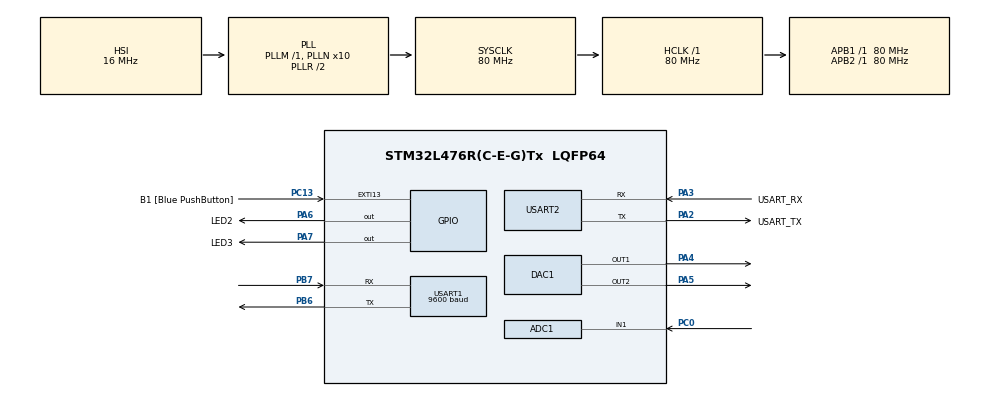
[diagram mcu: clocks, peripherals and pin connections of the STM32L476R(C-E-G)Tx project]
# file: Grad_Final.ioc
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ADC1.Channel-0\#ChannelRegularConversion=ADC_CHANNEL_1
ADC1.ClockPrescaler=ADC_CLOCK_ASYNC_DIV256
ADC1.ContinuousConvMode=ENABLE
ADC1.DMAContinuousRequests=ENABLE
ADC1.NbrOfConversion=1
ADC1.NbrOfConversionFlag=1
ADC1.OffsetNumber-0\#ChannelRegularConversion=ADC_OFFSET_NONE
ADC1.Overrun=ADC_OVR_DATA_OVERWRITTEN
ADC1.Rank-0\#ChannelRegularConversion=1
ADC1.SamplingTime-0\#ChannelRegularConversion=ADC_SAMPLETIME_12CYCLES_5
ADC1.master=1
DAC1.DAC_Channel-DAC_OUT2=DAC_CHANNEL_2
DAC1.DAC_Trigger-DAC_OUT1=DAC_TRIGGER_T2_TRGO
DAC1.DAC_Trigger-DAC_OUT2=DAC_TRIGGER_T4_TRGO
DAC1.WaveGeneration-DAC_OUT1=NoiseWaveGeneration
DAC1.WaveGeneration-DAC_OUT2=NoiseWaveGeneration
Dma.ADC1.2.Direction=DMA_PERIPH_TO_MEMORY
Dma.ADC1.2.Instance=DMA2_Channel3
Dma.ADC1.2.MemDataAlignment=DMA_MDATAALIGN_HALFWORD
Dma.ADC1.2.MemInc=DMA_MINC_ENABLE
Dma.ADC1.2.Mode=DMA_NORMAL
Dma.ADC1.2.PeriphDataAlignment=DMA_PDATAALIGN_HALFWORD
Dma.ADC1.2.PeriphInc=DMA_PINC_DISABLE
Dma.ADC1.2.Priority=DMA_PRIORITY_MEDIUM
Dma.DAC_CH1.0.Direction=DMA_MEMORY_TO_PERIPH
Dma.DAC_CH1.0.Instance=DMA1_Channel3
Dma.DAC_CH1.0.MemDataAlignment=DMA_MDATAALIGN_HALFWORD
Dma.DAC_CH1.0.MemInc=DMA_MINC_ENABLE
Dma.DAC_CH1.0.Mode=DMA_CIRCULAR
Dma.DAC_CH1.0.PeriphDataAlignment=DMA_PDATAALIGN_HALFWORD
Dma.DAC_CH1.0.PeriphInc=DMA_PINC_DISABLE
Dma.DAC_CH1.0.Priority=DMA_PRIORITY_HIGH
Dma.DAC_CH2.1.Direction=DMA_MEMORY_TO_PERIPH
Dma.DAC_CH2.1.Instance=DMA2_Channel5
Dma.DAC_CH2.1.MemDataAlignment=DMA_MDATAALIGN_HALFWORD
Dma.DAC_CH2.1.MemInc=DMA_MINC_ENABLE
Dma.DAC_CH2.1.Mode=DMA_CIRCULAR
Dma.DAC_CH2.1.PeriphDataAlignment=DMA_PDATAALIGN_HALFWORD
Dma.DAC_CH2.1.PeriphInc=DMA_PINC_DISABLE
Dma.DAC_CH2.1.Priority=DMA_PRIORITY_HIGH
Dma.Request0=DAC_CH1
Dma.Request1=DAC_CH2
Dma.Request2=ADC1
FREERTOS.BinarySemaphores01=UARTSem01,Dynamic,NULL
FREERTOS.Queues01=genQueue01,15,struct COMMANDS_STRUCT,0,Dynamic,NULL,NULL
FREERTOS.Tasks01=defaultTask,24,128,StartDefaultTask,Default,NULL,Dynamic,NULL,NULL;receiveTask,41,900,Start_receiveTask,Default,NULL,Dynamic,NULL,NULL;commandTask,40,1000,Start_commandTask,Default,NULL,Dynamic,NULL,NULL;captureTask,40,300,StartCaptureTask,Default,NULL,Dynamic,NULL,NULL
FREERTOS.configTOTAL_HEAP_SIZE=12000
Mcu.Family=STM32L4
Mcu.Name=STM32L476R(C-E-G)Tx
Mcu.Package=LQFP64
NVIC.ADC1_2_IRQn=true\:5\:0\:false\:false\:true\:true\:true\:true\:true
NVIC.DMA1_Channel3_IRQn=true\:5\:0\:false\:false\:true\:true\:false\:true\:true
NVIC.DMA2_Channel3_IRQn=true\:5\:0\:false\:false\:true\:true\:false\:true\:true
NVIC.DMA2_Channel5_IRQn=true\:5\:0\:false\:false\:true\:true\:false\:true\:true
NVIC.PriorityGroup=NVIC_PRIORITYGROUP_4
NVIC.TIM6_DAC_IRQn=true\:5\:0\:false\:false\:true\:false\:false\:true\:true
NVIC.TimeBase=TIM6_DAC_IRQn
NVIC.TimeBaseIP=TIM6
NVIC.USART1_IRQn=true\:5\:0\:false\:false\:true\:true\:true\:true\:true
NVIC.USART2_IRQn=true\:5\:0\:false\:false\:true\:true\:true\:true\:true
PA13\ (JTMS-SWDIO).GPIO_Label=TMS
PA13\ (JTMS-SWDIO).Mode=Serial_Wire
PA13\ (JTMS-SWDIO).Signal=SYS_JTMS-SWDIO
PA14\ (JTCK-SWCLK).GPIO_Label=TCK
PA14\ (JTCK-SWCLK).Mode=Serial_Wire
PA14\ (JTCK-SWCLK).Signal=SYS_JTCK-SWCLK
PA2.GPIO_Label=USART_TX
PA2.GPIO_Mode=GPIO_MODE_AF_PP
PA2.GPIO_PuPd=GPIO_NOPULL
PA2.GPIO_Speed=GPIO_SPEED_FREQ_VERY_HIGH
PA2.Mode=Asynchronous
PA2.Signal=USART2_TX
PA3.GPIO_Label=USART_RX
PA3.GPIO_Mode=GPIO_MODE_AF_PP
PA3.GPIO_PuPd=GPIO_NOPULL
PA3.GPIO_Speed=GPIO_SPEED_FREQ_VERY_HIGH
PA3.Mode=Asynchronous
PA3.Signal=USART2_RX
PA4.Signal=COMP_DAC11_group
PA5.Signal=COMP_DAC12_group
PA6.GPIO_Label=LED2
PA6.PinState=GPIO_PIN_SET
PA6.Signal=GPIO_Output
PA7.GPIO_Label=LED3
PA7.PinState=GPIO_PIN_SET
PA7.Signal=GPIO_Output
PB3\ (JTDO-TRACESWO).GPIO_Label=SWO
PB3\ (JTDO-TRACESWO).Signal=SYS_JTDO-SWO
PB6.Mode=Asynchronous
PB6.Signal=USART1_TX
PB7.Mode=Asynchronous
PB7.Signal=USART1_RX
PC0.Signal=ADCx_IN1
PC13.GPIO_Label=B1 [Blue PushButton]
PC13.GPIO_ModeDefaultEXTI=GPIO_MODE_IT_FALLING
PC13.GPIO_PuPd=GPIO_NOPULL
PC13.Signal=GPXTI13
PC14-OSC32_IN\ (PC14).Mode=LSE-External-Oscillator
PC14-OSC32_IN\ (PC14).Signal=RCC_OSC32_IN
PC15-OSC32_OUT\ (PC15).Mode=LSE-External-Oscillator
PC15-OSC32_OUT\ (PC15).Signal=RCC_OSC32_OUT
PH0-OSC_IN\ (PH0).Signal=RCC_OSC_IN
PH1-OSC_OUT\ (PH1).Signal=RCC_OSC_OUT
ProjectManager.HeapSize=0x200
ProjectManager.StackSize=0x400
ProjectManager.TargetToolchain=STM32CubeIDE
RCC.ADCFreq_Value=64000000
RCC.AHBFreq_Value=80000000
RCC.APB1Freq_Value=80000000
RCC.APB1TimFreq_Value=80000000
RCC.APB2Freq_Value=80000000
RCC.APB2TimFreq_Value=80000000
RCC.CortexFreq_Value=80000000
RCC.HCLKFreq_Value=80000000
RCC.HSE_VALUE=8000000
RCC.HSI_VALUE=16000000
RCC.MSI_VALUE=4000000
RCC.PLLN=10
RCC.PLLSourceVirtual=RCC_PLLSOURCE_HSI
RCC.PREFETCH_ENABLE=1
RCC.SYSCLKFreq_VALUE=80000000
RCC.SYSCLKSource=RCC_SYSCLKSOURCE_PLLCLK
RCC.USBFreq_Value=64000000
RCC.VCOOutputFreq_Value=160000000
SH.ADCx_IN1.0=ADC1_IN1,IN1-Single-Ended
SH.COMP_DAC11_group.0=DAC1_OUT1,DAC_OUT1
SH.COMP_DAC12_group.0=DAC1_OUT2,DAC_OUT2
TIM2.Period=101-1
TIM2.Prescaler=8-1
TIM2.TIM_MasterOutputTrigger=TIM_TRGO_UPDATE
TIM4.Period=100-1
TIM4.Prescaler=8-1
TIM4.TIM_MasterOutputTrigger=TIM_TRGO_UPDATE
USART1.BaudRate=9600
USART1.VirtualMode-Asynchronous=VM_ASYNC
USART2.VirtualMode-Asynchronous=VM_ASYNC
VP_FREERTOS_VS_CMSIS_V2.Mode=CMSIS_V2
VP_SYS_VS_tim6.Mode=TIM6
VP_TIM2_VS_ClockSourceINT.Mode=Internal
VP_TIM4_VS_ClockSourceINT.Mode=Internal
board=NUCLEO-L476RG

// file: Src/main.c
/* USER CODE BEGIN Header */
/**
  ******************************************************************************
  * @file           : main.c
  * @brief          : Main program body
  ******************************************************************************
  * @attention
  *
  * Copyright (c) 2023 STMicroelectronics.
  * All rights reserved.
  *
  * This software is licensed under terms that can be found in the LICENSE file
  * in the root directory of this software component.
  * If no LICENSE file comes with this software, it is provided AS-IS.
  *
  ******************************************************************************
  */
/* USER CODE END Header */
#include "main.h"
#include "cmsis_os.h"

/* USER CODE BEGIN Includes */
#include <stdio.h>
#include <inttypes.h>
#include <stdbool.h>
#include "info.h"
#include <stdlib.h>
#include <string.h>
#include <ctype.h>
/* USER CODE END Includes */

/* USER CODE BEGIN PD */
#define MAX(a,b) \
	({ __typeof__ (a) _a = (a); \
	   __typeof__ (b) _b = (b); \
	 _a > _b ? _a : _b; })

#define MIN(a,b) \
	({ __typeof__ (a) _a = (a); \
	   __typeof__ (b) _b = (b); \
	 _a < _b ? _a : _b; })

#define DATA_SIZE (200)
#define PI (3.1415926)
#define WSz (256)
#define WSzf (256.000)
/* USER CODE END PD */

ADC_HandleTypeDef hadc1;
DMA_HandleTypeDef hdma_adc1;

DAC_HandleTypeDef hdac1;
DMA_HandleTypeDef hdma_dac_ch1;
DMA_HandleTypeDef hdma_dac_ch2;

TIM_HandleTypeDef htim2;
TIM_HandleTypeDef htim4;

UART_HandleTypeDef huart1;
UART_HandleTypeDef huart2;

/* Definitions for defaultTask */
osThreadId_t defaultTaskHandle;
const osThreadAttr_t defaultTask_attributes = {
  .name = "defaultTask",
  .stack_size = 128 * 4,
  .priority = (osPriority_t) osPriorityNormal,
};
/* Definitions for receiveTask */
osThreadId_t receiveTaskHandle;
const osThreadAttr_t receiveTask_attributes = {
  .name = "receiveTask",
  .stack_size = 900 * 4,
  .priority = (osPriority_t) osPriorityHigh1,
};
/* Definitions for commandTask */
osThreadId_t commandTaskHandle;
const osThreadAttr_t commandTask_attributes = {
  .name = "commandTask",
  .stack_size = 1000 * 4,
  .priority = (osPriority_t) osPriorityHigh,
};
/* Definitions for captureTask */
osThreadId_t captureTaskHandle;
const osThreadAttr_t captureTask_attributes = {
  .name = "captureTask",
  .stack_size = 300 * 4,
  .priority = (osPriority_t) osPriorityHigh,
};
/* Definitions for genQueue01 */
osMessageQueueId_t genQueue01Handle;
const osMessageQueueAttr_t genQueue01_attributes = {
  .name = "genQueue01"
};
/* Definitions for UARTSem01 */
osSemaphoreId_t UARTSem01Handle;
const osSemaphoreAttr_t UARTSem01_attributes = {
  .name = "UARTSem01"
};
/* USER CODE BEGIN PV */
uint8_t idx_1 = 0;
uint8_t rx_char_1 = 0;

uint8_t Rx_data_1[1];
uint8_t Rx_data_2[1];
uint8_t Rx_flag_1 =0;
uint8_t Rx_flag_2 =0;
uint8_t Rx_Buffer_1[DATA_SIZE]={0};
uint8_t Rx_Buffer_2[DATA_SIZE]={0};
uint8_t Ch1_flag=0;
uint8_t Ch2_flag=0;

uint8_t Capture_flag=0;
uint16_t Received_Waveform[20000]={0};
/* USER CODE END PV */

void SystemClock_Config(void);
static void MX_GPIO_Init(void);
static void MX_DMA_Init(void);
static void MX_USART2_UART_Init(void);
static void MX_DAC1_Init(void);
static void MX_TIM2_Init(void);
static void MX_TIM4_Init(void);
static void MX_ADC1_Init(void);
static void MX_USART1_UART_Init(void);
void StartDefaultTask(void *argument);
void Start_receiveTask(void *argument);
void Start_commandTask(void *argument);
void StartCaptureTask(void *argument);

/* USER CODE BEGIN 0 */
void HAL_UART_RxCpltCallback(UART_HandleTypeDef *huart) {
	if(huart == &huart1){
		HAL_UART_Receive_IT(&huart1, &rx_char_1, 1);
		Rx_Buffer_1[idx_1] = rx_char_1;
		idx_1++;
		if(rx_char_1 == '\r'){
			Rx_flag_1 = 1;
		}
	}
	else if (huart == &huart2)
		Rx_flag_2 = 1;
}

void Update_DMA(COMMAND *running_command, uint16_t wave[], uint16_t wave_ch1[], uint16_t wave_ch2[], uint16_t wave_size, uint16_t *scale) {
    if (running_command->channel == 1) {
    	HAL_TIM_Base_Stop(&htim2);
    	HAL_DAC_Stop_DMA(&hdac1, DAC1_CHANNEL_1);
    	if(running_command->freq >1000){ // high speed mode
			for(int i=0; i<25; i++){
				wave_ch1[i] = wave[i*10]; // decimate signal
			}
			*scale = (int) 10*10000000.0 / (running_command->freq*WSz)-1;
			__HAL_TIM_SET_AUTORELOAD(&htim2, *scale);
			HAL_DAC_Start_DMA(&hdac1, DAC1_CHANNEL_1, wave_ch1, 25, DAC_ALIGN_12B_R);
			HAL_TIM_Base_Start(&htim2);
			return;
		}
    	for (int i = 0; i < 256; i++) {
            wave_ch1[i] = wave[i];
        }
        __HAL_TIM_SET_AUTORELOAD(&htim2, *scale);

        HAL_DAC_Start_DMA(&hdac1, DAC1_CHANNEL_1, wave_ch1, 256, DAC_ALIGN_12B_R);
        HAL_TIM_Base_Start(&htim2);
    }
    else if (running_command->channel == 2) {
    	HAL_TIM_Base_Start(&htim4);
    	HAL_DAC_Stop_DMA(&hdac1, DAC1_CHANNEL_2);

    	for (int i = 0; i < 256; i++) {
            wave_ch2[i] = wave[i];
        }
        __HAL_TIM_SET_AUTORELOAD(&htim4, *scale);

		HAL_DAC_Start_DMA(&hdac1, DAC1_CHANNEL_2, wave_ch2, 256, DAC_ALIGN_12B_R);
        HAL_TIM_Base_Start(&htim2);
    }
    return;
}
void process_cmd(char name1[], char name2[], char cmd[], char params[]){
	COMMAND command;
	uint8_t rx_buffer[DATA_SIZE] = {0};
	char sel[4] = {0};
	uint8_t on = 0;
	int led = 0;

	if(strcmp(cmd, "msg") == 0 || strcmp(cmd, "MSG") == 0){
		strcat(params, "\r\n");
		HAL_UART_Transmit(&huart2, params, DATA_SIZE, 1000);
	}
	else if(strcmp(cmd, "led") == 0||strcmp(cmd, "LED") == 0){
		sscanf(params, "%3s %d", sel, &led);
		if(sel[1] == 'n' || sel[1] == 'N'){
			on = GPIO_PIN_RESET;
		}
		else if(sel[1] == 'f'||sel[1] == 'F'){
			on = GPIO_PIN_SET;
		}
		if(led == 2){
			HAL_GPIO_WritePin(LED2_GPIO_Port, LED2_Pin, on);
		}
		else if(led == 3){
			HAL_GPIO_WritePin(LED3_GPIO_Port, LED3_Pin, on);
		}
	}
	else if(strcmp(cmd, "cap") == 0||strcmp(cmd, "CAP") == 0){
		Capture_flag = 1; // this will be read by Cap task
	}
	else if(strcmp(cmd, "gen") == 0||strcmp(cmd, "GEN") == 0){
		if(sscanf(params, "%d %c %f %f %f %d", &command.channel, &command.type,
			  &command.freq, &command.minv, &command.maxv, &command.noise) !=6){
			snprintf(rx_buffer, DATA_SIZE, "failed because incorrect size of param \r\n", command.channel);
			HAL_UART_Transmit(&huart2, rx_buffer, DATA_SIZE, 1000);
			return;
		}
		command.type = toupper(command.type); // put type to upper
		//------------------------------------------------------------------------------------
		// verify generation
		//------------------------------------------------------------------------------------
		if(command.channel != 1 && command.channel != 2){
			snprintf(rx_buffer, DATA_SIZE, "failed because channel = %d \r\n", command.channel);
			HAL_UART_Transmit(&huart2, rx_buffer, DATA_SIZE, 1000);
			return;
		}
		if(command.type != 'R' && command.type != 'T' && command.type != 'S' && command.type != 'A'){
			snprintf(rx_buffer, DATA_SIZE, "failed because type = %c \r\n", command.type);
			HAL_UART_Transmit(&huart2, rx_buffer, DATA_SIZE, 1000);
			return;
		}
		if(command.freq > 10000 || (command.freq < 0.5 && command.freq != 0) ){
			snprintf(rx_buffer, DATA_SIZE, "failed because frequency = %f \r\n", command.freq);
			HAL_UART_Transmit(&huart2, rx_buffer, DATA_SIZE, 1000);
			return;
		}
		if(command.minv < 0 || command.minv > 3.3){
			snprintf(rx_buffer, DATA_SIZE, "failed because minv = %f \r\n", command.minv);
			HAL_UART_Transmit(&huart2, rx_buffer, DATA_SIZE, 1000);
			return;
		}
		if(command.maxv < command.maxv || command.maxv > 3.3){
			snprintf(rx_buffer, DATA_SIZE, "failed because maxv = %f \r\n", command.maxv);
			HAL_UART_Transmit(&huart2, rx_buffer, DATA_SIZE, 1000);
			return;
		}
		if(command.noise < 0 || command.maxv > 12){
			snprintf(rx_buffer, DATA_SIZE, "failed because noise = %d \r\n", command.noise);
			HAL_UART_Transmit(&huart2, rx_buffer, DATA_SIZE, 1000);
			return;
		}
		//------------------------------------------------------------------------------------
		snprintf(rx_buffer, DATA_SIZE,"\r\n gen = %d, chann = %d, type = %c, freq = %f, minv = %f, maxv = %f, noise = %d \r\n",
			  command.gen, command.channel, command.type, command.freq,
			  command.minv, command.maxv, command.noise);
		HAL_UART_Transmit(&huart2, rx_buffer, DATA_SIZE, 1000);
		osMessageQueuePut(genQueue01Handle, &command, 1U, 100);
	}
	return;
}

/* USER CODE END 0 */

int main(void)
{

  /* MCU Configuration--------------------------------------------------------*/

  /* Reset of all peripherals, Initializes the Flash interface and the Systick. */
  HAL_Init();

  /* Configure the system clock */
  SystemClock_Config();

  /* Initialize all configured peripherals */
  MX_GPIO_Init();
  MX_DMA_Init();
  MX_USART2_UART_Init();
  MX_DAC1_Init();
  MX_TIM2_Init();
  MX_TIM4_Init();
  MX_ADC1_Init();
  MX_USART1_UART_Init();
  /* USER CODE BEGIN 2 */
  HAL_TIM_Base_Start(&htim2);
  HAL_TIM_Base_Start(&htim4);
  HAL_UART_Receive_IT(&huart2, Rx_data_2, 1);
  HAL_UART_Receive_IT(&huart1, Rx_data_1, 1);
  uint8_t rx_d[50] = "start\r\n";
  HAL_UART_Transmit(&huart2, rx_d, sizeof(rx_d), HAL_MAX_DELAY);
  /* USER CODE END 2 */

  /* Init scheduler */
  osKernelInitialize();

  /* Create the semaphores(s) */
  /* creation of UARTSem01 */
  UARTSem01Handle = osSemaphoreNew(1, 1, &UARTSem01_attributes);

  /* Create the queue(s) */
  /* creation of genQueue01 */
  genQueue01Handle = osMessageQueueNew (15, sizeof(struct COMMANDS_STRUCT), &genQueue01_attributes);

  /* Create the thread(s) */
  /* creation of defaultTask */
  defaultTaskHandle = osThreadNew(StartDefaultTask, NULL, &defaultTask_attributes);

  /* creation of receiveTask */
  receiveTaskHandle = osThreadNew(Start_receiveTask, NULL, &receiveTask_attributes);

  /* creation of commandTask */
  commandTaskHandle = osThreadNew(Start_commandTask, NULL, &commandTask_attributes);

  /* creation of captureTask */
  captureTaskHandle = osThreadNew(StartCaptureTask, NULL, &captureTask_attributes);

  /* Start scheduler */
  osKernelStart();

  /* We should never get here as control is now taken by the scheduler */
  /* Infinite loop */
  while (1)
  {

  }
}

void SystemClock_Config(void)
{
  RCC_OscInitTypeDef RCC_OscInitStruct = {0};
  RCC_ClkInitTypeDef RCC_ClkInitStruct = {0};

  /** Configure the main internal regulator output voltage
  */
  if (HAL_PWREx_ControlVoltageScaling(PWR_REGULATOR_VOLTAGE_SCALE1) != HAL_OK)
  {
    Error_Handler();
  }

  /** Initializes the RCC Oscillators according to the specified parameters
  * in the RCC_OscInitTypeDef structure.
  */
  RCC_OscInitStruct.OscillatorType = RCC_OSCILLATORTYPE_HSI;
  RCC_OscInitStruct.HSIState = RCC_HSI_ON;
  RCC_OscInitStruct.HSICalibrationValue = RCC_HSICALIBRATION_DEFAULT;
  RCC_OscInitStruct.PLL.PLLState = RCC_PLL_ON;
  RCC_OscInitStruct.PLL.PLLSource = RCC_PLLSOURCE_HSI;
  RCC_OscInitStruct.PLL.PLLM = 1;
  RCC_OscInitStruct.PLL.PLLN = 10;
  RCC_OscInitStruct.PLL.PLLP = RCC_PLLP_DIV7;
  RCC_OscInitStruct.PLL.PLLQ = RCC_PLLQ_DIV2;
  RCC_OscInitStruct.PLL.PLLR = RCC_PLLR_DIV2;
  if (HAL_RCC_OscConfig(&RCC_OscInitStruct) != HAL_OK)
  {
    Error_Handler();
  }

  /** Initializes the CPU, AHB and APB buses clocks
  */
  RCC_ClkInitStruct.ClockType = RCC_CLOCKTYPE_HCLK|RCC_CLOCKTYPE_SYSCLK
                              |RCC_CLOCKTYPE_PCLK1|RCC_CLOCKTYPE_PCLK2;
  RCC_ClkInitStruct.SYSCLKSource = RCC_SYSCLKSOURCE_PLLCLK;
  RCC_ClkInitStruct.AHBCLKDivider = RCC_SYSCLK_DIV1;
  RCC_ClkInitStruct.APB1CLKDivider = RCC_HCLK_DIV1;
  RCC_ClkInitStruct.APB2CLKDivider = RCC_HCLK_DIV1;

  if (HAL_RCC_ClockConfig(&RCC_ClkInitStruct, FLASH_LATENCY_4) != HAL_OK)
  {
    Error_Handler();
  }
}

static void MX_ADC1_Init(void)
{

  ADC_MultiModeTypeDef multimode = {0};
  ADC_ChannelConfTypeDef sConfig = {0};

  /** Common config
  */
  hadc1.Instance = ADC1;
  hadc1.Init.ClockPrescaler = ADC_CLOCK_ASYNC_DIV256;
  hadc1.Init.Resolution = ADC_RESOLUTION_12B;
  hadc1.Init.DataAlign = ADC_DATAALIGN_RIGHT;
  hadc1.Init.ScanConvMode = ADC_SCAN_DISABLE;
  hadc1.Init.EOCSelection = ADC_EOC_SINGLE_CONV;
  hadc1.Init.LowPowerAutoWait = DISABLE;
  hadc1.Init.ContinuousConvMode = ENABLE;
  hadc1.Init.NbrOfConversion = 1;
  hadc1.Init.DiscontinuousConvMode = DISABLE;
  hadc1.Init.ExternalTrigConv = ADC_SOFTWARE_START;
  hadc1.Init.ExternalTrigConvEdge = ADC_EXTERNALTRIGCONVEDGE_NONE;
  hadc1.Init.DMAContinuousRequests = ENABLE;
  hadc1.Init.Overrun = ADC_OVR_DATA_OVERWRITTEN;
  hadc1.Init.OversamplingMode = DISABLE;
  if (HAL_ADC_Init(&hadc1) != HAL_OK)
  {
    Error_Handler();
  }

  /** Configure the ADC multi-mode
  */
  multimode.Mode = ADC_MODE_INDEPENDENT;
  if (HAL_ADCEx_MultiModeConfigChannel(&hadc1, &multimode) != HAL_OK)
  {
    Error_Handler();
  }

  /** Configure Regular Channel
  */
  sConfig.Channel = ADC_CHANNEL_1;
  sConfig.Rank = ADC_REGULAR_RANK_1;
  sConfig.SamplingTime = ADC_SAMPLETIME_12CYCLES_5;
  sConfig.SingleDiff = ADC_SINGLE_ENDED;
  sConfig.OffsetNumber = ADC_OFFSET_NONE;
  sConfig.Offset = 0;
  if (HAL_ADC_ConfigChannel(&hadc1, &sConfig) != HAL_OK)
  {
    Error_Handler();
  }

}

static void MX_DAC1_Init(void)
{

  DAC_ChannelConfTypeDef sConfig = {0};

  /** DAC Initialization
  */
  hdac1.Instance = DAC1;
  if (HAL_DAC_Init(&hdac1) != HAL_OK)
  {
    Error_Handler();
  }

  /** DAC channel OUT1 config
  */
  sConfig.DAC_SampleAndHold = DAC_SAMPLEANDHOLD_DISABLE;
  sConfig.DAC_Trigger = DAC_TRIGGER_T2_TRGO;
  sConfig.DAC_OutputBuffer = DAC_OUTPUTBUFFER_ENABLE;
  sConfig.DAC_ConnectOnChipPeripheral = DAC_CHIPCONNECT_DISABLE;
  sConfig.DAC_UserTrimming = DAC_TRIMMING_FACTORY;
  if (HAL_DAC_ConfigChannel(&hdac1, &sConfig, DAC_CHANNEL_1) != HAL_OK)
  {
    Error_Handler();
  }

  /** Configure Noise wave generation on DAC OUT1
  */
  if (HAL_DACEx_NoiseWaveGenerate(&hdac1, DAC_CHANNEL_1, DAC_LFSRUNMASK_BIT0) != HAL_OK)
  {
    Error_Handler();
  }

  /** DAC channel OUT2 config
  */
  sConfig.DAC_Trigger = DAC_TRIGGER_T4_TRGO;
  if (HAL_DAC_ConfigChannel(&hdac1, &sConfig, DAC_CHANNEL_2) != HAL_OK)
  {
    Error_Handler();
  }

  /** Configure Noise wave generation on DAC OUT2
  */
  if (HAL_DACEx_NoiseWaveGenerate(&hdac1, DAC_CHANNEL_2, DAC_LFSRUNMASK_BIT0) != HAL_OK)
  {
    Error_Handler();
  }

}

static void MX_TIM2_Init(void)
{

  TIM_ClockConfigTypeDef sClockSourceConfig = {0};
  TIM_MasterConfigTypeDef sMasterConfig = {0};

  htim2.Instance = TIM2;
  htim2.Init.Prescaler = 8-1;
  htim2.Init.CounterMode = TIM_COUNTERMODE_UP;
  htim2.Init.Period = 101-1;
  htim2.Init.ClockDivision = TIM_CLOCKDIVISION_DIV1;
  htim2.Init.AutoReloadPreload = TIM_AUTORELOAD_PRELOAD_DISABLE;
  if (HAL_TIM_Base_Init(&htim2) != HAL_OK)
  {
    Error_Handler();
  }
  sClockSourceConfig.ClockSource = TIM_CLOCKSOURCE_INTERNAL;
  if (HAL_TIM_ConfigClockSource(&htim2, &sClockSourceConfig) != HAL_OK)
  {
    Error_Handler();
  }
  sMasterConfig.MasterOutputTrigger = TIM_TRGO_UPDATE;
  sMasterConfig.MasterSlaveMode = TIM_MASTERSLAVEMODE_DISABLE;
  if (HAL_TIMEx_MasterConfigSynchronization(&htim2, &sMasterConfig) != HAL_OK)
  {
    Error_Handler();
  }

}

static void MX_TIM4_Init(void)
{

  TIM_ClockConfigTypeDef sClockSourceConfig = {0};
  TIM_MasterConfigTypeDef sMasterConfig = {0};

  htim4.Instance = TIM4;
  htim4.Init.Prescaler = 8-1;
  htim4.Init.CounterMode = TIM_COUNTERMODE_UP;
  htim4.Init.Period = 100-1;
  htim4.Init.ClockDivision = TIM_CLOCKDIVISION_DIV1;
  htim4.Init.AutoReloadPreload = TIM_AUTORELOAD_PRELOAD_DISABLE;
  if (HAL_TIM_Base_Init(&htim4) != HAL_OK)
  {
    Error_Handler();
  }
  sClockSourceConfig.ClockSource = TIM_CLOCKSOURCE_INTERNAL;
  if (HAL_TIM_ConfigClockSource(&htim4, &sClockSourceConfig) != HAL_OK)
  {
    Error_Handler();
  }
  sMasterConfig.MasterOutputTrigger = TIM_TRGO_UPDATE;
  sMasterConfig.MasterSlaveMode = TIM_MASTERSLAVEMODE_DISABLE;
  if (HAL_TIMEx_MasterConfigSynchronization(&htim4, &sMasterConfig) != HAL_OK)
  {
    Error_Handler();
  }

}

static void MX_USART1_UART_Init(void)
{

  huart1.Instance = USART1;
  huart1.Init.BaudRate = 9600;
  huart1.Init.WordLength = UART_WORDLENGTH_8B;
  huart1.Init.StopBits = UART_STOPBITS_1;
  huart1.Init.Parity = UART_PARITY_NONE;
  huart1.Init.Mode = UART_MODE_TX_RX;
  huart1.Init.HwFlowCtl = UART_HWCONTROL_NONE;
  huart1.Init.OverSampling = UART_OVERSAMPLING_16;
  huart1.Init.OneBitSampling = UART_ONE_BIT_SAMPLE_DISABLE;
  huart1.AdvancedInit.AdvFeatureInit = UART_ADVFEATURE_NO_INIT;
  if (HAL_UART_Init(&huart1) != HAL_OK)
  {
    Error_Handler();
  }

}

static void MX_USART2_UART_Init(void)
{

  huart2.Instance = USART2;
  huart2.Init.BaudRate = 115200;
  huart2.Init.WordLength = UART_WORDLENGTH_8B;
  huart2.Init.StopBits = UART_STOPBITS_1;
  huart2.Init.Parity = UART_PARITY_NONE;
  huart2.Init.Mode = UART_MODE_TX_RX;
  huart2.Init.HwFlowCtl = UART_HWCONTROL_NONE;
  huart2.Init.OverSampling = UART_OVERSAMPLING_16;
  huart2.Init.OneBitSampling = UART_ONE_BIT_SAMPLE_DISABLE;
  huart2.AdvancedInit.AdvFeatureInit = UART_ADVFEATURE_NO_INIT;
  if (HAL_UART_Init(&huart2) != HAL_OK)
  {
    Error_Handler();
  }

}

static void MX_DMA_Init(void)
{

  /* DMA controller clock enable */
  __HAL_RCC_DMA1_CLK_ENABLE();
  __HAL_RCC_DMA2_CLK_ENABLE();

  /* DMA interrupt init */
  /* DMA1_Channel3_IRQn interrupt configuration */
  HAL_NVIC_SetPriority(DMA1_Channel3_IRQn, 5, 0);
  HAL_NVIC_EnableIRQ(DMA1_Channel3_IRQn);
  /* DMA2_Channel3_IRQn interrupt configuration */
  HAL_NVIC_SetPriority(DMA2_Channel3_IRQn, 5, 0);
  HAL_NVIC_EnableIRQ(DMA2_Channel3_IRQn);
  /* DMA2_Channel5_IRQn interrupt configuration */
  HAL_NVIC_SetPriority(DMA2_Channel5_IRQn, 5, 0);
  HAL_NVIC_EnableIRQ(DMA2_Channel5_IRQn);

}

static void MX_GPIO_Init(void)
{
  GPIO_InitTypeDef GPIO_InitStruct = {0};

  /* GPIO Ports Clock Enable */
  __HAL_RCC_GPIOC_CLK_ENABLE();
  __HAL_RCC_GPIOH_CLK_ENABLE();
  __HAL_RCC_GPIOA_CLK_ENABLE();
  __HAL_RCC_GPIOB_CLK_ENABLE();

  /*Configure GPIO pin Output Level */
  HAL_GPIO_WritePin(GPIOA, LED2_Pin|LED3_Pin, GPIO_PIN_SET);

  /*Configure GPIO pin : B1_Pin */
  GPIO_InitStruct.Pin = B1_Pin;
  GPIO_InitStruct.Mode = GPIO_MODE_IT_FALLING;
  GPIO_InitStruct.Pull = GPIO_NOPULL;
  HAL_GPIO_Init(B1_GPIO_Port, &GPIO_InitStruct);

  /*Configure GPIO pins : LED2_Pin LED3_Pin */
  GPIO_InitStruct.Pin = LED2_Pin|LED3_Pin;
  GPIO_InitStruct.Mode = GPIO_MODE_OUTPUT_PP;
  GPIO_InitStruct.Pull = GPIO_NOPULL;
  GPIO_InitStruct.Speed = GPIO_SPEED_FREQ_LOW;
  HAL_GPIO_Init(GPIOA, &GPIO_InitStruct);

}

void StartDefaultTask(void *argument)
{
  for(;;)
  {
    osDelay(1);
  }
}

void Start_receiveTask(void *argument)
{
  /* USER CODE BEGIN Start_receiveTask */
  char myname[] = "quinn";
  char myname_1[] = "jack";
  //uint8_t idx_1 = 0;
  uint8_t idx_2 = 0;
  uint8_t clear_flag_1 = 0;
  uint8_t clear_flag_2 = 0;

  char nl[4] = "\r\n";
  char name1[32] = {0};
  char name2[32] = {0};
  char cmd[32] = {0};
  char params[DATA_SIZE] = {0};
  uint8_t buffer[DATA_SIZE] = {0};

  uint8_t rx_char = 0;
  //uint8_t rx_char_1 = 0;

  uint8_t state =0;
//COMMAND command;
	/* Infinite loop */
  for(;;)
  {
	  osDelay(1);
	  if(Rx_flag_1 == 0 && Rx_flag_2 == 0){
		  osDelay(1);
		  continue;
	  }

//-------------------------------------------------------------------------------------------------------------------------------------------------
// Read UART 1
//-------------------------------------------------------------------------------------------------------------------------------------------------

	  if(Rx_flag_1 == 1){
		  Rx_flag_1 = 0;
		  if(sscanf(Rx_Buffer_1, "<%31[^>] > <%31[^>] > <%31[^>] > <%199[^>] >", name1, name2, cmd, params) == 4) {
			  if(strcmp(myname_1, name2)!=0){
				  HAL_UART_Transmit(&huart1, Rx_Buffer_1, DATA_SIZE, 1000);
			  }
			  else{
				  process_cmd(name1, name2, cmd, params);
				  memset(name1, 0, sizeof(name1[0]) * 32);
				  memset(name2, 0, sizeof(name1[0]) * 32);
				  memset(cmd, 0, sizeof(name1[0]) * 32);
				  memset(params, 0, sizeof(name1[0]) * DATA_SIZE);
			  }
		  }
		  else{
			  memset(buffer, 0, sizeof(buffer[0]) * DATA_SIZE); // wipe Rx_command
			  strcpy(buffer,"\r\ninvalid command by size! 01\r\n");
			  HAL_UART_Transmit(&huart2, buffer, DATA_SIZE, 1000);
		  }
		  idx_1 = 0;
		  memset(buffer, 0, sizeof(buffer[0]) * DATA_SIZE); // wipe Rx_command
		  memset(Rx_Buffer_1, 0, sizeof(Rx_Buffer_1[0]) * DATA_SIZE); // wipe Rx_command
	  }
//-------------------------------------------------------------------------------------------------------------------------------------------------
// Read UART 2
//-------------------------------------------------------------------------------------------------------------------------------------------------
	  if(Rx_flag_2 == 1){
		  HAL_UART_Receive_IT(&huart2, &rx_char, 1);
		  HAL_UART_Transmit(&huart2, &rx_char, 1, 10);
		  Rx_Buffer_2[idx_2] = rx_char;
		  idx_2++;
		  Rx_flag_2 = 0;
		  if(rx_char != '\r'){
			  continue;
		  }
		  HAL_UART_Transmit(&huart2, nl, 4, 100);
		  if(sscanf(Rx_Buffer_2, "<%31[^>] > <%31[^>] > <%199[^>] >",name2, cmd, params) == 3) {
			  if(strcmp(myname, name2)!=0){
				  //add <myname>
				  memset(buffer, 0, sizeof(buffer[0]) * DATA_SIZE);
				  strcat(buffer,"<");
				  strcat(buffer, myname);
				  strcat(buffer,"> ");
				  strcat(buffer, Rx_Buffer_2);
				  HAL_UART_Transmit(&huart1, buffer, DATA_SIZE, 1000);
			  }
			  else{
				  process_cmd(name1, name2, cmd, params);
				  memset(name1, 0, sizeof(name1[0]) * 32);
				  memset(name2, 0, sizeof(name1[0]) * 32);
				  memset(cmd, 0, sizeof(name1[0]) * 32);
				  memset(params, 0, sizeof(name1[0]) * DATA_SIZE);
			  }
		  }
		  else{
			  memset(buffer, 0, sizeof(buffer[0]) * DATA_SIZE); // wipe Rx_command
			  strcpy(buffer,"\r\ninvalid command by size! 02\r\n");
			  HAL_UART_Transmit(&huart2, buffer, DATA_SIZE, 1000);
		  }
		  idx_2 = 0;
		  memset(buffer, 0, sizeof(buffer[0]) * DATA_SIZE); // wipe Rx_command
		  memset(Rx_Buffer_2, 0, sizeof(Rx_Buffer_2[0]) * DATA_SIZE); // wipe Rx_command
	  }
  }
  /* USER CODE END Start_receiveTask */
}

void Start_commandTask(void *argument)
{
  /* USER CODE BEGIN Start_commandTask */
  COMMAND running_command;
  float val =0.0;
  uint16_t wave[256] = {0};
  uint16_t wave_ch1[256]={0};
  uint16_t wave_ch2[256]={0};
  uint32_t scale =1000;
  double min =0;
  double max =0;
	/* Infinite loop */
  for(;;)
  {
	if(osMessageQueueGetCount(genQueue01Handle) != 0){
		osMessageQueueGet(genQueue01Handle, &running_command, 0, 100);
		if(running_command.freq == 0)
		{
			for(int i = 0; i < WSz; i++)
			{
					wave[i] = (uint16_t)(4095*running_command.minv/3.3);
			}

			scale = 100; // does not matter, just not -1
			Update_DMA(&running_command, wave, wave_ch1, wave_ch2, 256, &scale);
			continue;
		}

		switch(running_command.type){
		case('S'):
			for(int j=0; j<256; j++){
				val = (sin(j*2*PI/256.0)/2.0 + 0.5)*4095.0 * (running_command.maxv - running_command.minv)/3.3 + 4095.0*running_command.minv/3.3;
				wave[j] = (int) val;
			}
			scale =(int) 10000000 / (running_command.freq*WSz)-1;
		break;
		case('T'):
			for (int i=0; i<WSz; i++)
				{
					val = (abs(i-WSz/2.0)*(4095.0/WSzf)*((running_command.maxv - running_command.minv)/3.3) + 4095.0*running_command.minv/3.3);
					wave[i] = (int) val;
				}
			scale =(int) 10000000 / (running_command.freq*WSz)-1;
			break;
		case('R'):
			for (int i=0; i<WSz; i++)
				{
					if(i>WSz/2){
						val = 4095.0/3.3*running_command.minv; // minv
					}
					else{
						val = 4095.0/3.3*running_command.maxv; // maxv
					}
					wave[i] = (int) val;
				}
			scale =(int) 10000000 / (running_command.freq*WSz)-1; //TIM2->ARR = scale;
			break;
		case('A'):
			min = 4095;
			max = 0;

			for(int i = 0; i < WSz; i++)
			{
				if(ekg[i] > max)
				{
					max = ekg[i];
				}

				if(ekg[i] < min)
				{
					min = ekg[i];
				}

			}

			for(int i = 0; i < WSz; i++)
			{
				wave[i] = (ekg[i] - min) * ((running_command.maxv - running_command.minv) * 4095.0/3.3) / (max - min) + (running_command.minv * 4095.0/3.3);
			}
			scale = (int) 10000000 / (running_command.freq*256)-1;
		break;
		}
		// update DMA
		Update_DMA(&running_command, wave, wave_ch1, wave_ch2, 256, &scale);
		// if noise valid
		if(running_command.channel == 1)
			HAL_DACEx_NoiseWaveGenerate(&hdac1, DAC1_CHANNEL_1, running_command.noise << 8U);
		else
			HAL_DACEx_NoiseWaveGenerate(&hdac1, DAC1_CHANNEL_2, running_command.noise << 8U);

	}
	osDelay(1);
  }
  /* USER CODE END Start_commandTask */
}

void StartCaptureTask(void *argument)
{
  /* USER CODE BEGIN StartCaptureTask */
  /* Infinite loop */
	uint32_t scale = (int) 1000-1; //TIM2->ARR = scale;
	uint16_t min =9999;
	uint16_t max = 0;
	float min_f =0;
	float max_f=0;
	uint8_t tx_buffer[200];
  for(;;)
  {

	if(Capture_flag ==1){
		HAL_ADC_Start_DMA (&hadc1, Received_Waveform, 20000); // in regular mode, will stop after waveform is full
		osDelay(2100); // 2.1s
		HAL_ADC_Stop_DMA(&hadc1);
		Capture_flag = 0;

		HAL_TIM_Base_Start(&htim4);
		HAL_DAC_Stop_DMA(&hdac1, DAC1_CHANNEL_2);

		__HAL_TIM_SET_AUTORELOAD(&htim4, scale);

		HAL_DAC_Start_DMA(&hdac1, DAC1_CHANNEL_2, Received_Waveform, 20000, DAC_ALIGN_12B_R);
		HAL_TIM_Base_Start(&htim2);

		max = Received_Waveform[0];
		min = Received_Waveform[0];
		for(int i=1;i<20000; i++){
			max = MAX(max, Received_Waveform[i]);
			min = MIN(min, Received_Waveform[i]);
		}
		max_f = max * 3.3/4095.0;
		min_f = min * 3.3/4095.0;
		memset(tx_buffer, 0, sizeof(tx_buffer[0]) * 200); // wipe Rx_command
		snprintf(tx_buffer, 200, "min: %f, max: %f\r\n", min_f, max_f);
		HAL_UART_Transmit(&huart2, tx_buffer, 200, 140);
	}
    osDelay(1);
  }
  /* USER CODE END StartCaptureTask */
}

void HAL_TIM_PeriodElapsedCallback(TIM_HandleTypeDef *htim)
{
  if (htim->Instance == TIM6) {
    HAL_IncTick();
  }
}

void Error_Handler(void)
{
  __disable_irq();
  while (1)
  {
  }
}
